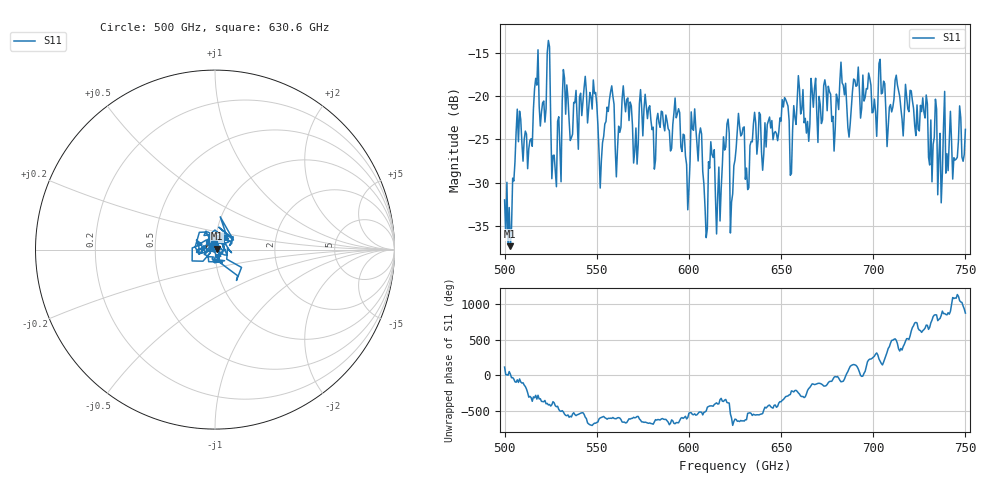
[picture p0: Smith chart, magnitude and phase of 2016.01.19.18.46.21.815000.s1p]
!Created with skrf (http://scikit-rf.org).
# GHz S RI R 50.0
!freq ReS11 ImS11
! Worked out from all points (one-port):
!   401 points, 500 GHz to 750 GHz, reference 50 ohm
!   lowest |S11| = -37.4 dB at 503.1 GHz (marker M1), VSWR 1.03, Z = 51.3 + j0.443 ohm
!   |S11| at or under -10 dB: start of sweep to end of sweep
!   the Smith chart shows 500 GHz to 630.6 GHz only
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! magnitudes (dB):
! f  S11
! 500 GHz  -32.0
! 503.1 GHz  -37.4
! 507.5 GHz  -25.3
! 513.8 GHz  -25.1
! 516.9 GHz  -18.0
! 520.6 GHz  -20.8
! 523.8 GHz  -13.6
! 526.9 GHz  -26.8
! 531.2 GHz  -20.6
! 562.5 GHz  -24.2
! 593.8 GHz  -22.0
! 599.4 GHz  -33.1
! 602.5 GHz  -24.0
! 605.6 GHz  -24.5
! 608.8 GHz  -32.9
! 612.5 GHz  -26.8
! 615.6 GHz  -31.5
! 620 GHz  -25.9
! 623.8 GHz  -31.3
! 625 GHz  -27.4
! 651.9 GHz  -20.2
! 656.2 GHz  -23.9
! 667.5 GHz  -21.3
! 687.5 GHz  -23.2
! 690.6 GHz  -18.9
! 718.8 GHz  -21.5
! 736.2 GHz  -24.3
! 750 GHz  -23.9
